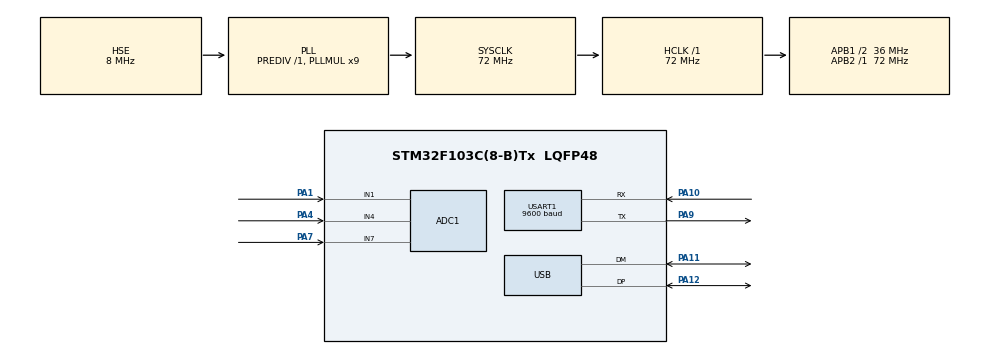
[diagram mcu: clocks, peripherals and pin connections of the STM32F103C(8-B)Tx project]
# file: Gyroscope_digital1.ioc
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ADC1.Channel-0\#ChannelRegularConversion=ADC_CHANNEL_1
ADC1.Channel-1\#ChannelRegularConversion=ADC_CHANNEL_4
ADC1.Channel-2\#ChannelRegularConversion=ADC_CHANNEL_7
ADC1.DiscontinuousConvMode=ENABLE
ADC1.NbrOfConversion=3
ADC1.NbrOfConversionFlag=1
ADC1.Rank-0\#ChannelRegularConversion=1
ADC1.Rank-1\#ChannelRegularConversion=2
ADC1.Rank-2\#ChannelRegularConversion=3
ADC1.SamplingTime-0\#ChannelRegularConversion=ADC_SAMPLETIME_1CYCLE_5
ADC1.SamplingTime-1\#ChannelRegularConversion=ADC_SAMPLETIME_1CYCLE_5
ADC1.SamplingTime-2\#ChannelRegularConversion=ADC_SAMPLETIME_1CYCLE_5
ADC1.master=1
Mcu.Family=STM32F1
Mcu.Name=STM32F103C(8-B)Tx
Mcu.Package=LQFP48
NVIC.PriorityGroup=NVIC_PRIORITYGROUP_4
NVIC.USART1_IRQn=true\:0\:0\:false\:false\:true\:true\:true\:true
PA1.Signal=ADCx_IN1
PA10.Mode=Asynchronous
PA10.Signal=USART1_RX
PA11.Mode=Device
PA11.Signal=USB_DM
PA12.Mode=Device
PA12.Signal=USB_DP
PA4.Signal=ADCx_IN4
PA7.Signal=ADCx_IN7
PA9.Mode=Asynchronous
PA9.Signal=USART1_TX
PD0-OSC_IN.Mode=HSE-External-Oscillator
PD0-OSC_IN.Signal=RCC_OSC_IN
PD1-OSC_OUT.Mode=HSE-External-Oscillator
PD1-OSC_OUT.Signal=RCC_OSC_OUT
ProjectManager.HeapSize=0x200
ProjectManager.StackSize=0x400
ProjectManager.TargetToolchain=Makefile
RCC.ADCPresc=RCC_ADCPCLK2_DIV6
RCC.AHBFreq_Value=72000000
RCC.APB1CLKDivider=RCC_HCLK_DIV2
RCC.APB1Freq_Value=36000000
RCC.APB1TimFreq_Value=72000000
RCC.APB2Freq_Value=72000000
RCC.APB2TimFreq_Value=72000000
RCC.HCLKFreq_Value=72000000
RCC.PLLMUL=RCC_PLL_MUL9
RCC.PLLSourceVirtual=RCC_PLLSOURCE_HSE
RCC.SYSCLKFreq_VALUE=72000000
RCC.SYSCLKSource=RCC_SYSCLKSOURCE_PLLCLK
RCC.USBFreq_Value=48000000
RCC.USBPrescaler=RCC_USBCLKSOURCE_PLL_DIV1_5
SH.ADCx_IN1.0=ADC1_IN1,IN1
SH.ADCx_IN4.0=ADC1_IN4,IN4
SH.ADCx_IN7.0=ADC1_IN7,IN7
USART1.BaudRate=9600
USART1.VirtualMode=VM_ASYNC
VP_SYS_VS_ND.Mode=No_Debug
board=custom

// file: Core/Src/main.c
/* USER CODE BEGIN Header */
/**
  ******************************************************************************
  * @file           : main.c
  * @brief          : Main program body
  ******************************************************************************
  * @attention
  *
  * Copyright (c) 2025 STMicroelectronics.
  * All rights reserved.
  *
  * This software is licensed under terms that can be found in the LICENSE file
  * in the root directory of this software component.
  * If no LICENSE file comes with this software, it is provided AS-IS.
  *
  ******************************************************************************
  */
/* USER CODE END Header */
#include "main.h"

/* USER CODE BEGIN Includes */

#include <stdio.h>
#include <math.h>

/* USER CODE END Includes */

ADC_HandleTypeDef hadc1;

UART_HandleTypeDef huart1;

PCD_HandleTypeDef hpcd_USB_FS;

/* USER CODE BEGIN PV */

uint32_t adc_raw[3]={0,0,0}; // Buffer pentru citirea valorilor ADC (3 canale)
float adc_volt[3]; // Buffer pentru conversia valorilor ADC in volti (3 canale)
float adc_acc[3]; // Buffer pentru conversia valorilor ADC in acceleratie (3 canale)
float unghi[3]={0,0,0}; // Buffer pentru unghiurile de inclinare (3 canale)
float offset[3]={0,0,0}; // Buffer pentru offseturile ADC (3 canale)

float delta_t[3]={0,0,0}; // Buffer pentru timpul de citire a valorilor ADC (3 canale)

float gyro[3]={0,0,0}; // Buffer pentru valorile gyroscopului (3 canale)

float unghi_anterior[3]={0,0,0}; // Buffer pentru unghiurile de inclinare (3 canale)

uint32_t time_prev[3]={0,0,0}; // Timpul anterior
/* USER CODE END PV */

void SystemClock_Config(void);
static void MX_GPIO_Init(void);
static void MX_ADC1_Init(void);
static void MX_USART1_UART_Init(void);
static void MX_USB_PCD_Init(void);

/* USER CODE BEGIN 0 */

////SCRIS DE MINE

// Redefinirea funcției printf pentru a funcționa cu HAL_UART_Transmit
// Aceasta permite folosirea directă a printf în loc de HAL_UART_Transmit()
// Utile pentru debug și transmiterea datelor senzorilor

#ifdef __GNUC__
#define PUTCHAR_PROTOTYPE int __io_putchar(int ch)
#else
#define PUTCHAR_PROTOTYPE int fputc(int ch, FILE *f)
#endif

PUTCHAR_PROTOTYPE
{
  HAL_UART_Transmit(&huart1, (uint8_t *)&ch, 1, HAL_MAX_DELAY);
  return ch;
}

int _write(int fd, char *ptr, int len)
{
  HAL_UART_Transmit(&huart1, (uint8_t *) ptr, len, HAL_MAX_DELAY);
  return len;
}

/* USER CODE END 0 */

int main(void)
{

  /* USER CODE BEGIN 1 */

  // Initializeaza offseturile cu media valorilor ADC
  /* USER CODE END 1 */

  /* MCU Configuration--------------------------------------------------------*/

  /* Reset of all peripherals, Initializes the Flash interface and the Systick. */
  HAL_Init(); // Inițializează HAL (Hardware Abstraction Layer)

  /* Configure the system clock */
  SystemClock_Config(); // Configurează ceasul sistemului (PLL, frecvențe periferice)

  /* Initialize all configured peripherals */
  MX_GPIO_Init();  // Inițializează pinii GPIO
  MX_ADC1_Init();   // Inițializează convertorul analog-digital (ADC)
  MX_USART1_UART_Init(); // Inițializează UART-ul pentru comunicare serială
  MX_USB_PCD_Init(); // Inițializează USB
  /* USER CODE BEGIN 2 */
  // Inițializezi offseturile cu 0

//////SCRIS DE MINE

//////SCRIS DE MINE
for (int i = 0; i < 3; i++) offset[i] = 0;
for (int n = 0; n < 100; n++) {
    for (int i = 0; i < 3; i++) {
        HAL_ADC_Start(&hadc1);
        HAL_ADC_PollForConversion(&hadc1, 1);
        offset[i] += HAL_ADC_GetValue(&hadc1);
    }
}
for (int i = 0; i < 3; i++)
{offset[i] /= 100.0f;
offset[i] = (offset[i] * 3.3f) / 4095.0f; // Conversie la voltaj
printf("Offset %d: %.3f V\r\n", i, offset[i]);
}
offset[2]=(offset[0]+offset[1])/2.0f; // Offset pentru Z
  /* USER CODE END 2 */

  /* Infinite loop */
  while (1)
  {

    /* USER CODE BEGIN 3 */

  for (int i = 0; i < 3; ++i)
    {
        // 1. Citire ADC
        HAL_ADC_Start(&hadc1); // Incepe conversia ADC
        HAL_ADC_PollForConversion(&hadc1, 1); // Asteapta conversia
        adc_raw[i] = HAL_ADC_GetValue(&hadc1); // Citeste valoarea ADC

        // 2. Conversie la voltaj
        adc_volt[i] = (adc_raw[i] * 3.3f) / 4095.0f; // Conversie la voltaj (cu referință 3.3V fiindcă ADC-ul e alimentat la 3.3V)

        // 3. Conversie la acceleratie (g)
        adc_acc[i] = (adc_volt[i] - offset[i]) / 0.33f;  // Conversie la accelerație (g) – 0.33V/g  fiind rezolutia senzorului

        // 4. Calcul unghi (grade)
        unghi_anterior[i] = unghi[i];
        // Pentru X și Y folosește formula clasică de tilt (atenție la axa de referință!)
        if (i == 0)
            unghi[i] = atan2f(adc_acc[0],adc_acc[2]) * 180.0f / 3.1415f; // Roll (X)
        else if (i == 1)
            unghi[i] = atan2f(adc_acc[1],adc_acc[2]) * 180.0f / 3.1415f; // Pitch (Y)

        // 5. Calcul timp (ms)
        uint32_t time_now = HAL_GetTick(); // Obține timpul curent în milisecunde
        delta_t[i] = time_now - time_prev[i]; // Calculează diferența de timp
        time_prev[i] = time_now; // Salvează timpul curent pentru următoarea iterație

        HAL_Delay(100); // Delay pentru a evita citirea prea rapida a ADC-ului

        // 6. Calcul viteza unghiulara (grade/secunda)
        if (delta_t[i] > 0)
            gyro[i] = (unghi[i] - unghi_anterior[i]) / (delta_t[i] / 1000.0f); // Calcul viteza unghiulara (dps)

        else
            gyro[i] = 0;
    }

    // Afisare CLARA
    printf("RAW   -> X: %lu  Y: %lu  Z: %lu\r\n", adc_raw[0], adc_raw[1], adc_raw[2]);

    printf("VOLT  -> X: %.3f V  Y: %.3f V  Z: %.3f V\r\n", adc_volt[0], adc_volt[1], adc_volt[2]);

    printf("ACCEL -> X: %.3f g  Y: %.3f g  Z: %.3f g\r\n", adc_acc[0], adc_acc[1], adc_acc[2]);

    printf("ANGLE -> X: %.2f grade   Y: %.2f grade   Z: %.2f grade\r\n", unghi[0], unghi[1], unghi[2]);

    printf("GYRO  -> X: %.2f grade/s Y: %.4f grade/s Z: %.4f grade/s\r\n", gyro[0], gyro[1], gyro[2]);
    printf("--------------------------------------------------\r\n");

    HAL_Delay(1000);

  }
  /* USER CODE END 3 */
}

void SystemClock_Config(void)
{
  RCC_OscInitTypeDef RCC_OscInitStruct = {0};
  RCC_ClkInitTypeDef RCC_ClkInitStruct = {0};
  RCC_PeriphCLKInitTypeDef PeriphClkInit = {0};

  /** Initializes the RCC Oscillators according to the specified parameters
  * in the RCC_OscInitTypeDef structure.
  */
  RCC_OscInitStruct.OscillatorType = RCC_OSCILLATORTYPE_HSE;
  RCC_OscInitStruct.HSEState = RCC_HSE_ON;
  RCC_OscInitStruct.HSEPredivValue = RCC_HSE_PREDIV_DIV1;
  RCC_OscInitStruct.HSIState = RCC_HSI_ON;
  RCC_OscInitStruct.PLL.PLLState = RCC_PLL_ON;
  RCC_OscInitStruct.PLL.PLLSource = RCC_PLLSOURCE_HSE;
  RCC_OscInitStruct.PLL.PLLMUL = RCC_PLL_MUL9;
  if (HAL_RCC_OscConfig(&RCC_OscInitStruct) != HAL_OK)
  {
    Error_Handler();
  }

  /** Initializes the CPU, AHB and APB buses clocks
  */
  RCC_ClkInitStruct.ClockType = RCC_CLOCKTYPE_HCLK|RCC_CLOCKTYPE_SYSCLK
                              |RCC_CLOCKTYPE_PCLK1|RCC_CLOCKTYPE_PCLK2;
  RCC_ClkInitStruct.SYSCLKSource = RCC_SYSCLKSOURCE_PLLCLK;
  RCC_ClkInitStruct.AHBCLKDivider = RCC_SYSCLK_DIV1;
  RCC_ClkInitStruct.APB1CLKDivider = RCC_HCLK_DIV2;
  RCC_ClkInitStruct.APB2CLKDivider = RCC_HCLK_DIV1;

  if (HAL_RCC_ClockConfig(&RCC_ClkInitStruct, FLASH_LATENCY_2) != HAL_OK)
  {
    Error_Handler();
  }
  PeriphClkInit.PeriphClockSelection = RCC_PERIPHCLK_ADC|RCC_PERIPHCLK_USB;
  PeriphClkInit.AdcClockSelection = RCC_ADCPCLK2_DIV6;
  PeriphClkInit.UsbClockSelection = RCC_USBCLKSOURCE_PLL_DIV1_5;
  if (HAL_RCCEx_PeriphCLKConfig(&PeriphClkInit) != HAL_OK)
  {
    Error_Handler();
  }
}

static void MX_ADC1_Init(void)
{

  ADC_ChannelConfTypeDef sConfig = {0};

  /** Common config
  */
  hadc1.Instance = ADC1;
  hadc1.Init.ScanConvMode = ADC_SCAN_ENABLE;
  hadc1.Init.ContinuousConvMode = DISABLE;
  hadc1.Init.DiscontinuousConvMode = ENABLE;
  hadc1.Init.NbrOfDiscConversion = 1;
  hadc1.Init.ExternalTrigConv = ADC_SOFTWARE_START;
  hadc1.Init.DataAlign = ADC_DATAALIGN_RIGHT;
  hadc1.Init.NbrOfConversion = 3;
  if (HAL_ADC_Init(&hadc1) != HAL_OK)
  {
    Error_Handler();
  }

  /** Configure Regular Channel
  */
  sConfig.Channel = ADC_CHANNEL_1;
  sConfig.Rank = ADC_REGULAR_RANK_1;
  sConfig.SamplingTime = ADC_SAMPLETIME_1CYCLE_5;
  if (HAL_ADC_ConfigChannel(&hadc1, &sConfig) != HAL_OK)
  {
    Error_Handler();
  }

  /** Configure Regular Channel
  */
  sConfig.Channel = ADC_CHANNEL_4;
  sConfig.Rank = ADC_REGULAR_RANK_2;
  if (HAL_ADC_ConfigChannel(&hadc1, &sConfig) != HAL_OK)
  {
    Error_Handler();
  }

  /** Configure Regular Channel
  */
  sConfig.Channel = ADC_CHANNEL_7;
  sConfig.Rank = ADC_REGULAR_RANK_3;
  if (HAL_ADC_ConfigChannel(&hadc1, &sConfig) != HAL_OK)
  {
    Error_Handler();
  }

}

static void MX_USART1_UART_Init(void)
{

  huart1.Instance = USART1;
  huart1.Init.BaudRate = 9600;
  huart1.Init.WordLength = UART_WORDLENGTH_8B;
  huart1.Init.StopBits = UART_STOPBITS_1;
  huart1.Init.Parity = UART_PARITY_NONE;
  huart1.Init.Mode = UART_MODE_TX_RX;
  huart1.Init.HwFlowCtl = UART_HWCONTROL_NONE;
  huart1.Init.OverSampling = UART_OVERSAMPLING_16;
  if (HAL_UART_Init(&huart1) != HAL_OK)
  {
    Error_Handler();
  }

}

static void MX_USB_PCD_Init(void)
{

  hpcd_USB_FS.Instance = USB;
  hpcd_USB_FS.Init.dev_endpoints = 8;
  hpcd_USB_FS.Init.speed = PCD_SPEED_FULL;
  hpcd_USB_FS.Init.low_power_enable = DISABLE;
  hpcd_USB_FS.Init.lpm_enable = DISABLE;
  hpcd_USB_FS.Init.battery_charging_enable = DISABLE;
  if (HAL_PCD_Init(&hpcd_USB_FS) != HAL_OK)
  {
    Error_Handler();
  }

}

static void MX_GPIO_Init(void)
{

  /* GPIO Ports Clock Enable */
  __HAL_RCC_GPIOD_CLK_ENABLE();
  __HAL_RCC_GPIOA_CLK_ENABLE();

}

void Error_Handler(void)
{
  __disable_irq();
  while (1)
  {
  }
}
